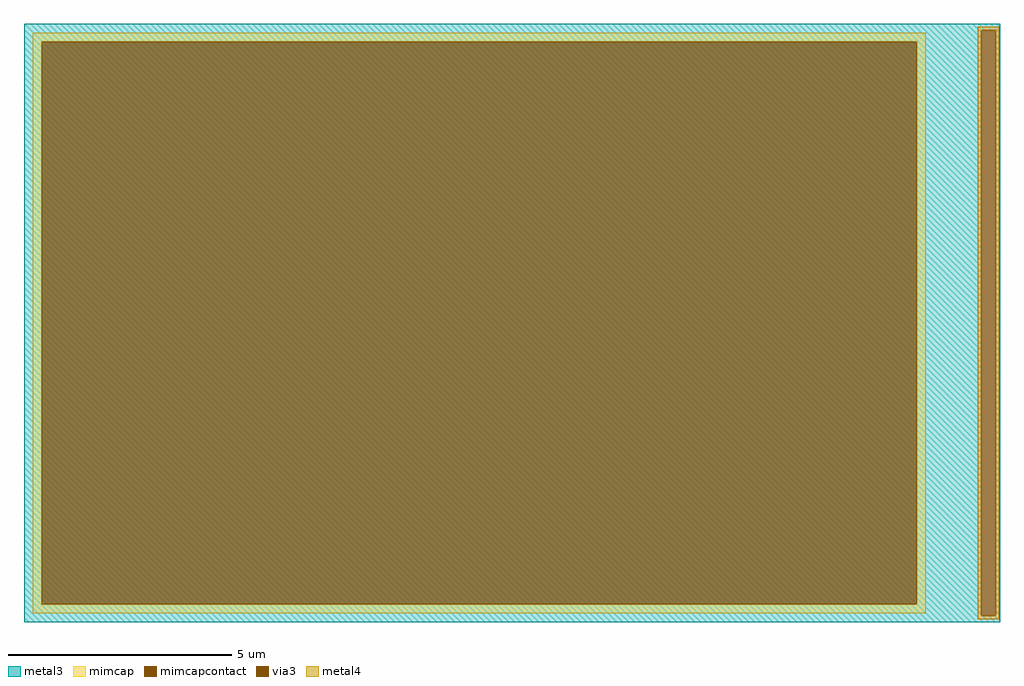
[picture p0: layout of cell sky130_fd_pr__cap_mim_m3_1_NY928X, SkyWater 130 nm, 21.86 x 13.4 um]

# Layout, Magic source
magic
tech sky130A
magscale 1 2
<< metal3 >>
rect -2186 1312 2186 1340
rect -2186 -1312 2102 1312
rect 2166 -1312 2186 1312
rect -2186 -1340 2186 -1312
<< via3 >>
rect 2102 -1312 2166 1312
<< mimcap >>
rect -2146 1260 1854 1300
rect -2146 -1260 -2106 1260
rect 1814 -1260 1854 1260
rect -2146 -1300 1854 -1260
<< mimcapcontact >>
rect -2106 -1260 1814 1260
<< metal4 >>
rect 2086 1312 2182 1328
rect 2086 -1312 2102 1312
rect 2166 -1312 2182 1312
rect 2086 -1328 2182 -1312
<< properties >>
string FIXED_BBOX -2186 -1340 1894 1340
string gencell sky130_fd_pr__cap_mim_m3_1
string library sky130
string parameters w 20.00 l 13.00 val 532.54 carea 2.00 cperi 0.19 nx 1 ny 1 dummy 0 square 0 lmin 2.00 wmin 2.00 lmax 30.0 wmax 30.0 dc 0 bconnect 1 tconnect 1 ccov 100
<< end >>
